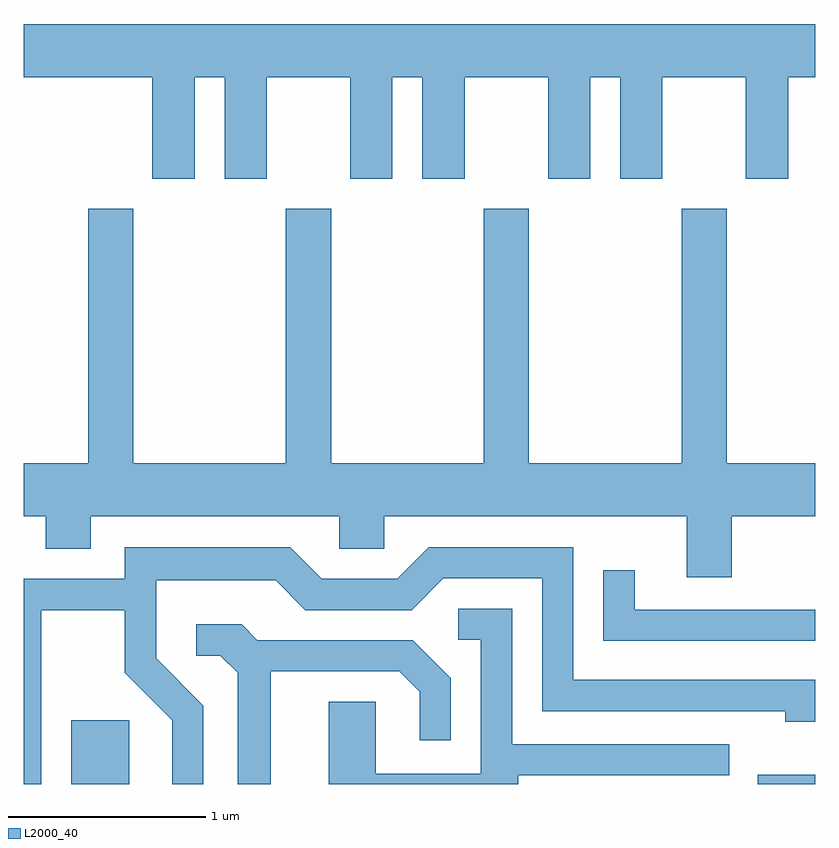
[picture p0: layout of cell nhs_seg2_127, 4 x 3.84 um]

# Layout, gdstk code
import gdstk
lib = gdstk.Library(unit=1e-6, precision=1e-09)
def R(c, l, rs):  # rectangles x0, y0, x1, y1
    for r in rs: c.add(gdstk.rectangle(r[:2], r[2:], *l))
def P(c, l, *ps):  # polygons
    for p in ps: c.add(gdstk.Polygon(p, *l))
L2000_40 = (2000, 40)

nhs_seg2_127 = lib.new_cell('nhs_seg2_127')
R(nhs_seg2_127, L2000_40, [(187.851,1095.802,188.144,1096.124), (191.321,1095.802,191.611,1095.849)])
P(nhs_seg2_127, L2000_40, [(188.474,1099.376),(188.626,1099.376),(188.626,1098.861),(188.839,1098.861),(188.839,1099.376),(189.261,1099.376),(189.261,1098.861),(189.474,1098.861),(189.474,1099.376),(189.626,1099.376),(189.626,1098.861),(189.839,1098.861),(189.839,1099.376),(190.261,1099.376),(190.261,1098.861),(190.474,1098.861),(190.474,1099.376),(190.626,1099.376),(190.626,1098.861),(190.839,1098.861),(190.839,1099.376),(191.261,1099.376),(191.261,1098.861),(191.474,1098.861),(191.474,1099.376),(191.611,1099.376),(191.611,1099.644),(187.611,1099.644),(187.611,1099.376),(188.261,1099.376),(188.261,1098.861),(188.474,1098.861)],
  [(191.189,1097.156),(191.611,1097.156),(191.611,1097.424),(191.164,1097.424),(191.164,1098.709),(190.936,1098.709),(190.936,1097.424),(190.164,1097.424),(190.164,1098.709),(189.936,1098.709),(189.936,1097.424),(189.164,1097.424),(189.164,1098.709),(188.936,1098.709),(188.936,1097.424),(188.164,1097.424),(188.164,1098.709),(187.936,1098.709),(187.936,1097.424),(187.611,1097.424),(187.611,1097.156),(187.721,1097.156),(187.721,1096.991),(187.949,1096.991),(187.949,1097.156),(189.206,1097.156),(189.206,1096.991),(189.434,1096.991),(189.434,1097.156),(190.961,1097.156),(190.961,1096.846),(191.189,1096.846)],
  [(187.699,1096.681),(188.121,1096.681),(188.121,1096.364),(188.361,1096.124),(188.361,1095.802),(188.519,1095.802),(188.519,1096.197),(188.279,1096.437),(188.279,1096.831),(188.884,1096.831),(189.034,1096.681),(189.572,1096.681),(189.732,1096.841),(190.231,1096.841),(190.231,1096.171),(191.461,1096.171),(191.461,1096.116),(191.611,1096.116),(191.611,1096.329),(190.389,1096.329),(190.389,1096.999),(189.659,1096.999),(189.499,1096.839),(189.117,1096.839),(188.957,1096.999),(188.121,1096.999),(188.121,1096.839),(187.611,1096.839),(187.611,1095.802),(187.699,1095.802)],
  [(191.611,1096.684),(190.699,1096.684),(190.699,1096.883),(190.541,1096.883),(190.541,1096.526),(191.611,1096.526)],
  [(190.109,1095.846),(191.178,1095.846),(191.178,1096.004),(190.079,1096.004),(190.079,1096.689),(189.808,1096.689),(189.808,1096.531),(189.921,1096.531),(189.921,1095.854),(189.389,1095.854),(189.389,1096.219),(189.151,1096.219),(189.151,1095.802),(190.109,1095.802)],
  [(188.859,1096.371),(189.509,1096.371),(189.611,1096.269),(189.611,1096.023),(189.769,1096.023),(189.769,1096.337),(189.577,1096.529),(188.792,1096.529),(188.712,1096.609),(188.483,1096.609),(188.483,1096.451),(188.604,1096.451),(188.691,1096.364),(188.691,1095.802),(188.859,1095.802)])

lib.write_gds('nhs_seg2_127.gds')
